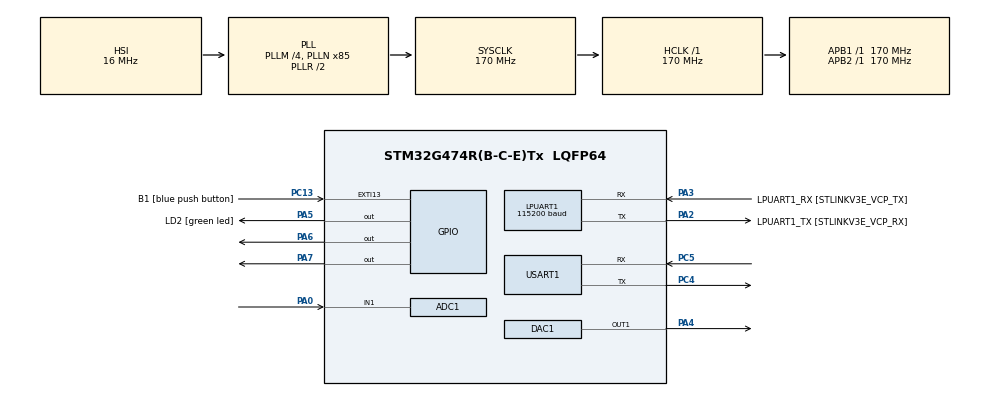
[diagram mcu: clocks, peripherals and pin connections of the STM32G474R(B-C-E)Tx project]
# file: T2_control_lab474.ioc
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ADC1.Channel-0\#ChannelRegularConversion=ADC_CHANNEL_1
ADC1.ContinuousConvMode=ENABLE
ADC1.DMAContinuousRequests=ENABLE
ADC1.NbrOfConversionFlag=1
ADC1.OffsetNumber-0\#ChannelRegularConversion=ADC_OFFSET_NONE
ADC1.Rank-0\#ChannelRegularConversion=1
ADC1.SamplingTime-0\#ChannelRegularConversion=ADC_SAMPLETIME_2CYCLES_5
ADC1.master=1
Dma.ADC1.0.Direction=DMA_PERIPH_TO_MEMORY
Dma.ADC1.0.EventEnable=DISABLE
Dma.ADC1.0.Instance=DMA1_Channel1
Dma.ADC1.0.MemDataAlignment=DMA_MDATAALIGN_HALFWORD
Dma.ADC1.0.MemInc=DMA_MINC_ENABLE
Dma.ADC1.0.Mode=DMA_CIRCULAR
Dma.ADC1.0.PeriphDataAlignment=DMA_PDATAALIGN_HALFWORD
Dma.ADC1.0.PeriphInc=DMA_PINC_DISABLE
Dma.ADC1.0.Polarity=HAL_DMAMUX_REQ_GEN_RISING
Dma.ADC1.0.Priority=DMA_PRIORITY_LOW
Dma.ADC1.0.RequestNumber=1
Dma.ADC1.0.SignalID=NONE
Dma.ADC1.0.SyncEnable=DISABLE
Dma.ADC1.0.SyncPolarity=HAL_DMAMUX_SYNC_NO_EVENT
Dma.ADC1.0.SyncRequestNumber=1
Dma.ADC1.0.SyncSignalID=NONE
Dma.Request0=ADC1
LPUART1.BaudRate=115200
LPUART1.WordLength=UART_WORDLENGTH_8B
Mcu.Family=STM32G4
Mcu.Name=STM32G474R(B-C-E)Tx
Mcu.Package=LQFP64
NVIC.ADC1_2_IRQn=true\:0\:0\:false\:false\:true\:true\:true\:true
NVIC.DMA1_Channel1_IRQn=true\:0\:0\:false\:false\:true\:false\:true\:true
NVIC.EXTI15_10_IRQn=true\:0\:0\:false\:false\:true\:true\:true\:true
NVIC.LPUART1_IRQn=true\:0\:0\:false\:false\:true\:true\:true\:true
NVIC.PriorityGroup=NVIC_PRIORITYGROUP_4
NVIC.USART1_IRQn=true\:0\:0\:false\:false\:true\:true\:true\:true
PA0.Mode=IN1-Single-Ended
PA0.Signal=ADC1_IN1
PA13.GPIO_Label=T_SWDIO
PA13.Mode=Serial_Wire
PA13.Signal=SYS_JTMS-SWDIO
PA14.GPIO_Label=T_SWCLK
PA14.Mode=Serial_Wire
PA14.Signal=SYS_JTCK-SWCLK
PA2.GPIO_Label=LPUART1_TX [STLINKV3E_VCP_RX]
PA2.Mode=Asynchronous
PA2.Signal=LPUART1_TX
PA3.GPIO_Label=LPUART1_RX [STLINKV3E_VCP_TX]
PA3.Mode=Asynchronous
PA3.Signal=LPUART1_RX
PA4.Signal=COMP_DAC11_group
PA5.GPIO_Label=LD2 [green led]
PA5.Signal=GPIO_Output
PA6.Signal=GPIO_Output
PA7.Signal=GPIO_Output
PB3.GPIO_Label=T_SWO
PB3.Signal=SYS_JTDO-SWO
PC13.GPIO_Label=B1 [blue push button]
PC13.Signal=GPXTI13
PC14-OSC32_IN.Mode=LSE-External-Oscillator
PC14-OSC32_IN.Signal=RCC_OSC32_IN
PC15-OSC32_OUT.Mode=LSE-External-Oscillator
PC15-OSC32_OUT.Signal=RCC_OSC32_OUT
PC4.Mode=Asynchronous
PC4.Signal=USART1_TX
PC5.Mode=Asynchronous
PC5.Signal=USART1_RX
PF0-OSC_IN.Mode=HSE-External-Oscillator
PF0-OSC_IN.Signal=RCC_OSC_IN
PF1-OSC_OUT.Mode=HSE-External-Oscillator
PF1-OSC_OUT.Signal=RCC_OSC_OUT
ProjectManager.HeapSize=0x200
ProjectManager.StackSize=0x400
ProjectManager.TargetToolchain=STM32CubeIDE
RCC.ADC12Freq_Value=170000000
RCC.ADC345Freq_Value=170000000
RCC.AHBFreq_Value=170000000
RCC.APB1Freq_Value=170000000
RCC.APB1TimFreq_Value=170000000
RCC.APB2Freq_Value=170000000
RCC.APB2TimFreq_Value=170000000
RCC.CortexFreq_Value=170000000
RCC.EXTERNAL_CLOCK_VALUE=12288000
RCC.HCLKFreq_Value=170000000
RCC.HSE_VALUE=24000000
RCC.HSI48_VALUE=48000000
RCC.HSI_VALUE=16000000
RCC.PLLM=RCC_PLLM_DIV4
RCC.PLLN=85
RCC.RTCClockSelection=RCC_RTCCLKSOURCE_LSE
RCC.SYSCLKFreq_VALUE=170000000
RCC.SYSCLKSource=RCC_SYSCLKSOURCE_PLLCLK
RCC.USBFreq_Value=170000000
RCC.VCOOutputFreq_Value=340000000
SH.COMP_DAC11_group.0=DAC1_OUT1,DAC_OUT1
USART1.VirtualMode-Asynchronous=VM_ASYNC
VP_SYS_VS_DBSignals.Mode=DisableDeadBatterySignals
board=NUCLEO-G474RE

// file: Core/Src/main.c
/* USER CODE BEGIN Header */
/**
  ******************************************************************************
  * @file           : main.c
  * @brief          : Main program body
  ******************************************************************************
  * @attention
  *
  * Copyright (c) 2024 STMicroelectronics.
  * All rights reserved.
  *
  * This software is licensed under terms that can be found in the LICENSE file
  * in the root directory of this software component.
  * If no LICENSE file comes with this software, it is provided AS-IS.
  *
  ******************************************************************************
  */
/* USER CODE END Header */
#include "main.h"

/* USER CODE BEGIN Includes */
#include "stdio.h"
#include "string.h"
/* USER CODE END Includes */

ADC_HandleTypeDef hadc1;
DMA_HandleTypeDef hdma_adc1;

DAC_HandleTypeDef hdac1;

UART_HandleTypeDef hlpuart1;
UART_HandleTypeDef huart1;

/* USER CODE BEGIN PV */
uint16_t ADC_RawRead[20]={0};
/* USER CODE END PV */

void SystemClock_Config(void);
static void MX_GPIO_Init(void);
static void MX_DMA_Init(void);
static void MX_LPUART1_UART_Init(void);
static void MX_USART1_UART_Init(void);
static void MX_ADC1_Init(void);
static void MX_DAC1_Init(void);
/* USER CODE BEGIN PFP */
void UART_con();
uint16_t map_value(int16_t data);
/* USER CODE END PFP */

/* USER CODE BEGIN 0 */
static union tr
{
	int16_t buffer16;
	int8_t buffer8[2];

};
int8_t RxBuffer[4];
uint8_t TxBuffer[4];
int8_t shift1;
int8_t shift2;
uint16_t state = 0;
uint16_t ADC = 11;
int16_t PWM;
uint32_t timestamp = 0;
uint32_t check = 0;
uint32_t avg_in = 0;
uint32_t avg_in2 = 0;
int16_t DAC_Output=0;

uint16_t sum;
//uint16_t check;
uint16_t check2;
uint16_t input;
uint16_t input_prev = 0;
int16_t diff;
//int16_t start = 0;
int16_t noise = 3;
int16_t negative_noise = -3;
int16_t position = 0;
uint16_t position_wrap = 0;
uint16_t position_degree = 0;
uint64_t time = 0;
int check_dac= 0;
int start = 0;
/* USER CODE END 0 */

int main(void)
{

  /* MCU Configuration--------------------------------------------------------*/

  /* Reset of all peripherals, Initializes the Flash interface and the Systick. */
  HAL_Init();

  /* Configure the system clock */
  SystemClock_Config();

  /* Initialize all configured peripherals */
  MX_GPIO_Init();
  MX_DMA_Init();
  MX_LPUART1_UART_Init();
  MX_USART1_UART_Init();
  MX_ADC1_Init();
  MX_DAC1_Init();
  /* USER CODE BEGIN 2 */
  UART_con();
  HAL_ADC_Start_DMA(&hadc1, ADC_RawRead, 20);
  HAL_DAC_Start(&hdac1, DAC_CHANNEL_1);
//  HAL_DAC_Start(&hdac2, DAC_CHANNEL_1);

//  uint8_t text[] = "HELLO FIBO\n";

//  HAL_UART_Transmit(&hlpuart1, text, 12, 10);
  /* USER CODE END 2 */

  /* Infinite loop */
  while (1)
  {

    /* USER CODE BEGIN 3 */
//	  PWM = (((int16_t)shift2 << 8) | RxBuffer[1]);
	  if (timestamp + 20 >= HAL_GetTick())
	  {
		  continue;
	  }
//
	  avg_in = 0;
	  for(int i=0;i <= 19 ;i ++)
	  {
		  avg_in += ADC_RawRead[i];
	  }
	  avg_in2 = avg_in /20;
	  ADC = avg_in2;

	  // pos
	  input = ADC;
	  diff = input - input_prev;
	  if (diff > 2048|| diff < -2048 )
	  {
		  check += 1;
		  input_prev = input;

		  continue;
	  }
	  if (diff > noise && diff > 0)
	  {
		  check2 += 1;
		  if (start == 0)
		  {
			  input_prev = input;
			  start = 1;
			  time = HAL_GetTick();
			  continue;
		  }
		position += diff;
	  }
	  else if (diff < negative_noise)
	  {
			position += diff;
	  }

	  input_prev = input;

	  //
	  position_wrap = map_value(position);
	  position_degree = (position_wrap * 360)/4096;

	  TxBuffer[0] = 69;
//
	  TxBuffer[1] = position_degree & 0xff;
	  TxBuffer[2] = (position_degree >> 8) & 0xff;

	  TxBuffer[3] = '\n'; // /n
//
	  HAL_UART_Transmit_IT(&hlpuart1,TxBuffer,4);
//	  state += 1;
//	  if (state == 10)
//	  {
//		  state = 0;
//	  }
	  timestamp = HAL_GetTick();
//
  }
  /* USER CODE END 3 */
}

void SystemClock_Config(void)
{
  RCC_OscInitTypeDef RCC_OscInitStruct = {0};
  RCC_ClkInitTypeDef RCC_ClkInitStruct = {0};

  /** Configure the main internal regulator output voltage
  */
  HAL_PWREx_ControlVoltageScaling(PWR_REGULATOR_VOLTAGE_SCALE1_BOOST);

  /** Initializes the RCC Oscillators according to the specified parameters
  * in the RCC_OscInitTypeDef structure.
  */
  RCC_OscInitStruct.OscillatorType = RCC_OSCILLATORTYPE_HSI;
  RCC_OscInitStruct.HSIState = RCC_HSI_ON;
  RCC_OscInitStruct.HSICalibrationValue = RCC_HSICALIBRATION_DEFAULT;
  RCC_OscInitStruct.PLL.PLLState = RCC_PLL_ON;
  RCC_OscInitStruct.PLL.PLLSource = RCC_PLLSOURCE_HSI;
  RCC_OscInitStruct.PLL.PLLM = RCC_PLLM_DIV4;
  RCC_OscInitStruct.PLL.PLLN = 85;
  RCC_OscInitStruct.PLL.PLLP = RCC_PLLP_DIV2;
  RCC_OscInitStruct.PLL.PLLQ = RCC_PLLQ_DIV2;
  RCC_OscInitStruct.PLL.PLLR = RCC_PLLR_DIV2;
  if (HAL_RCC_OscConfig(&RCC_OscInitStruct) != HAL_OK)
  {
    Error_Handler();
  }

  /** Initializes the CPU, AHB and APB buses clocks
  */
  RCC_ClkInitStruct.ClockType = RCC_CLOCKTYPE_HCLK|RCC_CLOCKTYPE_SYSCLK
                              |RCC_CLOCKTYPE_PCLK1|RCC_CLOCKTYPE_PCLK2;
  RCC_ClkInitStruct.SYSCLKSource = RCC_SYSCLKSOURCE_PLLCLK;
  RCC_ClkInitStruct.AHBCLKDivider = RCC_SYSCLK_DIV1;
  RCC_ClkInitStruct.APB1CLKDivider = RCC_HCLK_DIV1;
  RCC_ClkInitStruct.APB2CLKDivider = RCC_HCLK_DIV1;

  if (HAL_RCC_ClockConfig(&RCC_ClkInitStruct, FLASH_LATENCY_4) != HAL_OK)
  {
    Error_Handler();
  }
}

static void MX_ADC1_Init(void)
{

  ADC_MultiModeTypeDef multimode = {0};
  ADC_ChannelConfTypeDef sConfig = {0};

  /** Common config
  */
  hadc1.Instance = ADC1;
  hadc1.Init.ClockPrescaler = ADC_CLOCK_SYNC_PCLK_DIV4;
  hadc1.Init.Resolution = ADC_RESOLUTION_12B;
  hadc1.Init.DataAlign = ADC_DATAALIGN_RIGHT;
  hadc1.Init.GainCompensation = 0;
  hadc1.Init.ScanConvMode = ADC_SCAN_DISABLE;
  hadc1.Init.EOCSelection = ADC_EOC_SINGLE_CONV;
  hadc1.Init.LowPowerAutoWait = DISABLE;
  hadc1.Init.ContinuousConvMode = ENABLE;
  hadc1.Init.NbrOfConversion = 1;
  hadc1.Init.DiscontinuousConvMode = DISABLE;
  hadc1.Init.ExternalTrigConv = ADC_SOFTWARE_START;
  hadc1.Init.ExternalTrigConvEdge = ADC_EXTERNALTRIGCONVEDGE_NONE;
  hadc1.Init.DMAContinuousRequests = ENABLE;
  hadc1.Init.Overrun = ADC_OVR_DATA_PRESERVED;
  hadc1.Init.OversamplingMode = DISABLE;
  if (HAL_ADC_Init(&hadc1) != HAL_OK)
  {
    Error_Handler();
  }

  /** Configure the ADC multi-mode
  */
  multimode.Mode = ADC_MODE_INDEPENDENT;
  if (HAL_ADCEx_MultiModeConfigChannel(&hadc1, &multimode) != HAL_OK)
  {
    Error_Handler();
  }

  /** Configure Regular Channel
  */
  sConfig.Channel = ADC_CHANNEL_1;
  sConfig.Rank = ADC_REGULAR_RANK_1;
  sConfig.SamplingTime = ADC_SAMPLETIME_2CYCLES_5;
  sConfig.SingleDiff = ADC_SINGLE_ENDED;
  sConfig.OffsetNumber = ADC_OFFSET_NONE;
  sConfig.Offset = 0;
  if (HAL_ADC_ConfigChannel(&hadc1, &sConfig) != HAL_OK)
  {
    Error_Handler();
  }

}

static void MX_DAC1_Init(void)
{

  DAC_ChannelConfTypeDef sConfig = {0};

  /** DAC Initialization
  */
  hdac1.Instance = DAC1;
  if (HAL_DAC_Init(&hdac1) != HAL_OK)
  {
    Error_Handler();
  }

  /** DAC channel OUT1 config
  */
  sConfig.DAC_HighFrequency = DAC_HIGH_FREQUENCY_INTERFACE_MODE_AUTOMATIC;
  sConfig.DAC_DMADoubleDataMode = DISABLE;
  sConfig.DAC_SignedFormat = DISABLE;
  sConfig.DAC_SampleAndHold = DAC_SAMPLEANDHOLD_DISABLE;
  sConfig.DAC_Trigger = DAC_TRIGGER_NONE;
  sConfig.DAC_Trigger2 = DAC_TRIGGER_NONE;
  sConfig.DAC_OutputBuffer = DAC_OUTPUTBUFFER_ENABLE;
  sConfig.DAC_ConnectOnChipPeripheral = DAC_CHIPCONNECT_EXTERNAL;
  sConfig.DAC_UserTrimming = DAC_TRIMMING_FACTORY;
  if (HAL_DAC_ConfigChannel(&hdac1, &sConfig, DAC_CHANNEL_1) != HAL_OK)
  {
    Error_Handler();
  }

}

static void MX_LPUART1_UART_Init(void)
{

  hlpuart1.Instance = LPUART1;
  hlpuart1.Init.BaudRate = 115200;
  hlpuart1.Init.WordLength = UART_WORDLENGTH_8B;
  hlpuart1.Init.StopBits = UART_STOPBITS_1;
  hlpuart1.Init.Parity = UART_PARITY_NONE;
  hlpuart1.Init.Mode = UART_MODE_TX_RX;
  hlpuart1.Init.HwFlowCtl = UART_HWCONTROL_NONE;
  hlpuart1.Init.OneBitSampling = UART_ONE_BIT_SAMPLE_DISABLE;
  hlpuart1.Init.ClockPrescaler = UART_PRESCALER_DIV1;
  hlpuart1.AdvancedInit.AdvFeatureInit = UART_ADVFEATURE_NO_INIT;
  if (HAL_UART_Init(&hlpuart1) != HAL_OK)
  {
    Error_Handler();
  }
  if (HAL_UARTEx_SetTxFifoThreshold(&hlpuart1, UART_TXFIFO_THRESHOLD_1_8) != HAL_OK)
  {
    Error_Handler();
  }
  if (HAL_UARTEx_SetRxFifoThreshold(&hlpuart1, UART_RXFIFO_THRESHOLD_1_8) != HAL_OK)
  {
    Error_Handler();
  }
  if (HAL_UARTEx_DisableFifoMode(&hlpuart1) != HAL_OK)
  {
    Error_Handler();
  }

}

static void MX_USART1_UART_Init(void)
{

  huart1.Instance = USART1;
  huart1.Init.BaudRate = 115200;
  huart1.Init.WordLength = UART_WORDLENGTH_8B;
  huart1.Init.StopBits = UART_STOPBITS_1;
  huart1.Init.Parity = UART_PARITY_NONE;
  huart1.Init.Mode = UART_MODE_TX_RX;
  huart1.Init.HwFlowCtl = UART_HWCONTROL_NONE;
  huart1.Init.OverSampling = UART_OVERSAMPLING_16;
  huart1.Init.OneBitSampling = UART_ONE_BIT_SAMPLE_DISABLE;
  huart1.Init.ClockPrescaler = UART_PRESCALER_DIV1;
  huart1.AdvancedInit.AdvFeatureInit = UART_ADVFEATURE_NO_INIT;
  if (HAL_UART_Init(&huart1) != HAL_OK)
  {
    Error_Handler();
  }
  if (HAL_UARTEx_SetTxFifoThreshold(&huart1, UART_TXFIFO_THRESHOLD_1_8) != HAL_OK)
  {
    Error_Handler();
  }
  if (HAL_UARTEx_SetRxFifoThreshold(&huart1, UART_RXFIFO_THRESHOLD_1_8) != HAL_OK)
  {
    Error_Handler();
  }
  if (HAL_UARTEx_DisableFifoMode(&huart1) != HAL_OK)
  {
    Error_Handler();
  }

}

static void MX_DMA_Init(void)
{

  /* DMA controller clock enable */
  __HAL_RCC_DMAMUX1_CLK_ENABLE();
  __HAL_RCC_DMA1_CLK_ENABLE();

  /* DMA interrupt init */
  /* DMA1_Channel1_IRQn interrupt configuration */
  HAL_NVIC_SetPriority(DMA1_Channel1_IRQn, 0, 0);
  HAL_NVIC_EnableIRQ(DMA1_Channel1_IRQn);

}

static void MX_GPIO_Init(void)
{
  GPIO_InitTypeDef GPIO_InitStruct = {0};

  /* GPIO Ports Clock Enable */
  __HAL_RCC_GPIOC_CLK_ENABLE();
  __HAL_RCC_GPIOF_CLK_ENABLE();
  __HAL_RCC_GPIOA_CLK_ENABLE();
  __HAL_RCC_GPIOB_CLK_ENABLE();

  /*Configure GPIO pin Output Level */
  HAL_GPIO_WritePin(GPIOA, LD2_Pin|GPIO_PIN_6|GPIO_PIN_7, GPIO_PIN_RESET);

  /*Configure GPIO pin : B1_Pin */
  GPIO_InitStruct.Pin = B1_Pin;
  GPIO_InitStruct.Mode = GPIO_MODE_IT_RISING;
  GPIO_InitStruct.Pull = GPIO_NOPULL;
  HAL_GPIO_Init(B1_GPIO_Port, &GPIO_InitStruct);

  /*Configure GPIO pins : LD2_Pin PA6 PA7 */
  GPIO_InitStruct.Pin = LD2_Pin|GPIO_PIN_6|GPIO_PIN_7;
  GPIO_InitStruct.Mode = GPIO_MODE_OUTPUT_PP;
  GPIO_InitStruct.Pull = GPIO_NOPULL;
  GPIO_InitStruct.Speed = GPIO_SPEED_FREQ_LOW;
  HAL_GPIO_Init(GPIOA, &GPIO_InitStruct);

  /* EXTI interrupt init*/
  HAL_NVIC_SetPriority(EXTI15_10_IRQn, 0, 0);
  HAL_NVIC_EnableIRQ(EXTI15_10_IRQn);

}

/* USER CODE BEGIN 4 */
void UART_con()
{
	HAL_UART_Receive_IT(&hlpuart1, RxBuffer, 4);
}
void HAL_UART_RxCpltCallback(UART_HandleTypeDef *huart){
	if(huart == &hlpuart1)
	{
		union tr hi;
		if(RxBuffer[0] == 69){
//			HAL_UART_Transmit(&huart1,TxBuffer, 4,10);
			shift1 = RxBuffer[1];
			shift2 = RxBuffer[2];

			hi.buffer8[0] = RxBuffer[1];
			hi.buffer8[1] = RxBuffer[2];

			PWM = hi.buffer16;
//			PWM = (int16_t)(RxBuffer[2] << 8) | (RxBuffer[1] & 0xff);

		}

		if (PWM < 0)
		{

//			DAC_Output = (DAC_Output * 3.3)/4096; // 4096
			DAC_Output = PWM * -1;
			check_dac += 1;
			HAL_DAC_SetValue(&hdac1, DAC_CHANNEL_1, DAC_ALIGN_12B_R, DAC_Output);
			HAL_GPIO_WritePin(GPIOA, GPIO_PIN_6, 1);
			HAL_GPIO_WritePin(GPIOA, GPIO_PIN_7, 0);
//			HAL_DAC_SetValue(&hdac2, DAC_CHANNEL_1, DAC_ALIGN_12B_R, 0);

		}
		else if (PWM > 0)
		{
//			DAC_Output = (DAC_Output * 3.3)/4096;
			DAC_Output = PWM;
			check_dac += 1;

			HAL_DAC_SetValue(&hdac1, DAC_CHANNEL_1, DAC_ALIGN_12B_R,DAC_Output);
			HAL_GPIO_WritePin(GPIOA, GPIO_PIN_6, 0);
			HAL_GPIO_WritePin(GPIOA, GPIO_PIN_7, 1);
//			HAL_DAC_SetValue(&hdac2, DAC_CHANNEL_1, DAC_ALIGN_12B_R,DAC_Output);
		}
		HAL_UART_Receive_IT(&hlpuart1, RxBuffer, 4);

//		HAL_UART_Receive_IT(&huart1, RxBuffer, 4);
//		if(RxBuffer[0] == 69){
//			PWM = (RxBuffer[1] << 8) | RxBuffer[2];
//		}

//			TxBuffer[0] = 70;
//			TxBuffer[1] = (49 + state) & 0xff;
//			TxBuffer[2] = (50 + state) & 0xff;
//			TxBuffer[3] = 10;

			//	  HAL_UART_Transmit(&huart1,TxBuffer, 4,10);
//			HAL_UART_Transmit_IT(&hlpuart1,TxBuffer, 4);
//		}
	}
}
uint16_t map_value(int16_t value) {
    // Define the range of the input
    float min_input = 0.0;
    float max_input = (float)4095; // Max ADC value
    int max_output = 4095;

    // Map the value
    uint16_t mapped_value;
    if (value % 4096 == 0)
    {
    	 mapped_value = value;
    	 return mapped_value;
    }
    else {
    	if (value < 0)
    	{
    		value *= -1;
    	}
    	mapped_value = value % 4096;
    	return mapped_value;
    }

}
/* USER CODE END 4 */

void Error_Handler(void)
{
  __disable_irq();
  while (1)
  {
  }
}
